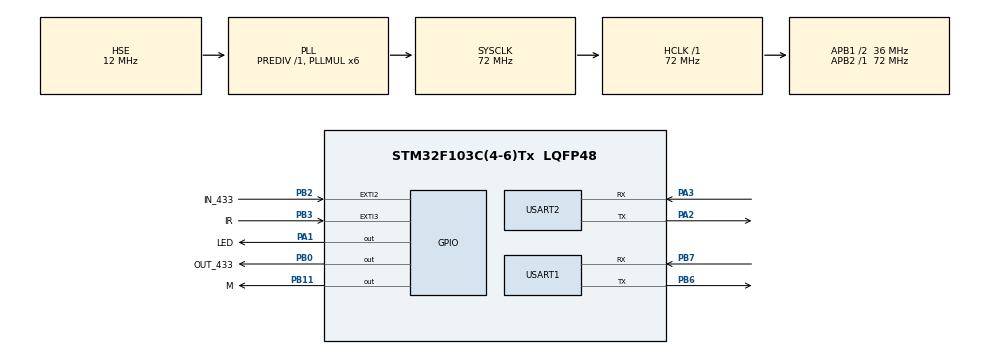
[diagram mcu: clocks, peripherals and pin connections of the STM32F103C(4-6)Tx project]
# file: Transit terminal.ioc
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IWDG.Prescaler=IWDG_PRESCALER_32
IWDG.Reload=4000
Mcu.Family=STM32F1
Mcu.Name=STM32F103C(4-6)Tx
Mcu.Package=LQFP48
NVIC.EXTI2_IRQn=true\:0\:0\:false\:false\:true\:true\:true\:true
NVIC.EXTI3_IRQn=true\:0\:0\:false\:false\:true\:true\:true\:true
NVIC.PriorityGroup=NVIC_PRIORITYGROUP_4
NVIC.TIM1_BRK_IRQn=true\:0\:0\:false\:false\:true\:true\:true\:true
NVIC.TIM2_IRQn=true\:0\:0\:false\:false\:true\:true\:true\:true
NVIC.TIM3_IRQn=true\:0\:0\:false\:false\:true\:true\:true\:true
NVIC.USART1_IRQn=true\:0\:0\:false\:false\:true\:true\:true\:true
PA1.GPIO_Label=LED
PA1.Signal=GPIO_Output
PA13.Mode=Serial_Wire
PA13.Signal=SYS_JTMS-SWDIO
PA14.Mode=Serial_Wire
PA14.Signal=SYS_JTCK-SWCLK
PA2.Mode=Asynchronous
PA2.Signal=USART2_TX
PA3.Mode=Asynchronous
PA3.Signal=USART2_RX
PB0.GPIO_Label=OUT_433
PB0.GPIO_ModeDefaultOutputPP=GPIO_MODE_OUTPUT_PP
PB0.Signal=GPIO_Output
PB11.GPIO_Label=M
PB11.GPIO_ModeDefaultOutputPP=GPIO_MODE_OUTPUT_OD
PB11.GPIO_PuPd=GPIO_NOPULL
PB11.GPIO_Speed=GPIO_SPEED_FREQ_HIGH
PB11.PinState=GPIO_PIN_SET
PB11.Signal=GPIO_Output
PB2.GPIO_Label=IN_433
PB2.GPIO_ModeDefaultEXTI=GPIO_MODE_IT_RISING_FALLING
PB2.GPIO_PuPd=GPIO_PULLUP
PB2.Signal=GPXTI2
PB3.GPIO_Label=IR
PB3.GPIO_ModeDefaultEXTI=GPIO_MODE_IT_FALLING
PB3.Signal=GPXTI3
PB6.Mode=Asynchronous
PB6.Signal=USART1_TX
PB7.Mode=Asynchronous
PB7.Signal=USART1_RX
PD0-OSC_IN.Mode=HSE-External-Oscillator
PD0-OSC_IN.Signal=RCC_OSC_IN
PD1-OSC_OUT.Mode=HSE-External-Oscillator
PD1-OSC_OUT.Signal=RCC_OSC_OUT
ProjectManager.HeapSize=0x200
ProjectManager.StackSize=0x400
ProjectManager.TargetToolchain=MDK-ARM V5.32
RCC.AHBFreq_Value=72000000
RCC.APB1CLKDivider=RCC_HCLK_DIV2
RCC.APB1Freq_Value=36000000
RCC.APB1TimFreq_Value=72000000
RCC.APB2Freq_Value=72000000
RCC.APB2TimFreq_Value=72000000
RCC.HCLKFreq_Value=72000000
RCC.HSE_VALUE=12000000
RCC.PLLMUL=RCC_PLL_MUL6
RCC.PLLSourceVirtual=RCC_PLLSOURCE_HSE
RCC.SYSCLKFreq_VALUE=72000000
RCC.SYSCLKSource=RCC_SYSCLKSOURCE_PLLCLK
RCC.USBFreq_Value=72000000
TIM1.Prescaler=72-1
TIM2.Period=20
TIM2.Prescaler=72-1
TIM3.Prescaler=72-1
USART1.VirtualMode=VM_ASYNC
USART2.VirtualMode=VM_ASYNC
VP_IWDG_VS_IWDG.Mode=IWDG_Activate
VP_TIM1_VS_ClockSourceINT.Mode=Internal
VP_TIM2_VS_ClockSourceINT.Mode=Internal
VP_TIM3_VS_ClockSourceINT.Mode=Internal
board=custom

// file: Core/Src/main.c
/* USER CODE BEGIN Header */
/**
 ******************************************************************************
 * @file           : main.c
 * @brief          : Main program body
 ******************************************************************************
 * @attention
 *
 * Copyright (c) 2023 STMicroelectronics.
 * All rights reserved.
 *
 * This software is licensed under terms that can be found in the LICENSE file
 * in the root directory of this software component.
 * If no LICENSE file comes with this software, it is provided AS-IS.
 *
 ******************************************************************************
 */
/* USER CODE END Header */
#include "main.h"
#include "iwdg.h"
#include "tim.h"
#include "usart.h"
#include "gpio.h"

/* USER CODE BEGIN Includes */
#include "Delay.h"
#include "IR_NEC.h"
#include "RF.h"
#include "Steering_Engine.h"
#include "Print.h"
/* USER CODE END Includes */

void SystemClock_Config(void);
/* USER CODE BEGIN PFP */
uint8_t Input_EN = 1;
uint8_t M_EN = 0;
uint8_t Uart1_Buf[20] = {0};
uint8_t Uart1_OK = 0;
/* USER CODE END PFP */

/* USER CODE BEGIN 0 */
void OPEN()
{
  M_EN = 1;
  HAL_IWDG_Refresh(&hiwdg);
  Steering_Engine_360(0, 30);

  HAL_Delay(500);
  HAL_IWDG_Refresh(&hiwdg);
  Steering_Engine_360(1, 40);
  HAL_Delay(80);
  HAL_IWDG_Refresh(&hiwdg);
  Steering_Engine_Stop();
  M_EN = 0;
}
void CLOSE()
{
  M_EN = 1;
  HAL_IWDG_Refresh(&hiwdg);
  Steering_Engine_360(1, 30);
  HAL_Delay(500);
  HAL_IWDG_Refresh(&hiwdg);
  Steering_Engine_360(0, 30);
  HAL_Delay(80);
  HAL_IWDG_Refresh(&hiwdg);
  Steering_Engine_Stop();
  M_EN = 0;
}
void HAL_TIM_PeriodElapsedCallback(TIM_HandleTypeDef *htim)
{
  if (htim == &htim1)
  {
  }
  else if (htim == &htim2)
  {
    if (M_EN == 1)
      Steering_Engine_Action();
    else
      HAL_GPIO_WritePin(Steering_Engine_GPIOx, Steering_Engine_GPIO_Pin, GPIO_PIN_SET);
  }
  else if (htim == &htim3)
  {
  }
}
void HAL_GPIO_EXTI_Callback(uint16_t GPIO_Pin)
{
  if (GPIO_Pin == GPIO_PIN_2) // 433
  {
    if (Input_EN == 1)
      if (IR_NEC_Read_ins == 0)
        if (RF_READ_OK == 0)
          RF_Read_Decode();
  }
  else if (GPIO_Pin == GPIO_PIN_3) // IR
  {
    if (Input_EN == 1)
      if (IR_NEC_Read_OK == 0)
        IR_NEC_Read_Decode(air);
  }
}
void HAL_UARTEx_RxEventCallback(UART_HandleTypeDef *huart, uint16_t Size)
{
  if (huart == &huart1)
  {
    Uart1_OK = 1;
    HAL_UART_Transmit(&huart2, Uart1_Buf, Size, 0xfff);
  }
}
/* USER CODE END 0 */

int main(void)
{
  /* USER CODE BEGIN 1 */
  // uint8_t Data_home_Close[3] = {0xac, 0x00, 0xFF};
  // uint8_t Data_home_Open[3] = {0xac, 0x00, 0x00};

  uint8_t Data_N_Close[3] = {0xac, 0x11, 0xFF};
  uint8_t Data_N_Open[3] = {0xac, 0x11, 0x00};

  uint8_t Data_S_Close[3] = {0xac, 0x22, 0xFF};
  uint8_t Data_S_Open[3] = {0xac, 0x22, 0x00};
  uint8_t RF433_Buf[3] = {0};
  /* USER CODE END 1 */

  /* MCU Configuration--------------------------------------------------------*/

  /* Reset of all peripherals, Initializes the Flash interface and the Systick. */
  HAL_Init();

  /* Configure the system clock */
  SystemClock_Config();

  /* Initialize all configured peripherals */
	MX_IWDG_Init();
  MX_GPIO_Init();
  MX_TIM1_Init();
  MX_TIM2_Init();
  MX_TIM3_Init();
  MX_USART1_UART_Init();
  MX_USART2_UART_Init();
  /* USER CODE BEGIN 2 */
  HAL_Delay(50);
  printf("1\r\n");
  HAL_GPIO_WritePin(GPIOA, GPIO_PIN_1, GPIO_PIN_RESET);
  HAL_UARTEx_ReceiveToIdle_IT(&huart1, Uart1_Buf, 20);
  /* USER CODE END 2 */

  /* Infinite loop */
  while (1)
  {

    /* USER CODE BEGIN 3 */

    if (RF_READ_OK == 1)
    {
      HAL_GPIO_WritePin(GPIOA, GPIO_PIN_1, GPIO_PIN_SET);
      Input_EN = 0;
      if (RF_READ_data[0] == 0xac && RF_READ_data[1] == 0x01 && RF_READ_data[2] == 0x00)
        OPEN();
      else if (RF_READ_data[0] == 0xac && RF_READ_data[1] == 0x01 && RF_READ_data[2] == 0xff)
        CLOSE();
      HAL_IWDG_Refresh(&hiwdg);
      RF_READ_data[0] = 0;
      RF_READ_data[1] = 0;
      RF_READ_data[2] = 0;
      RF_READ_OK = 0;
      Input_EN = 1;
      HAL_GPIO_WritePin(GPIOA, GPIO_PIN_1, GPIO_PIN_RESET);
    }
    if (IR_NEC_Read_OK == 1)
    {
      HAL_GPIO_WritePin(GPIOA, GPIO_PIN_1, GPIO_PIN_SET);
      Input_EN = 0;
      //  printf("%02X%02X%02X\r\n", RF_READ_data[0], RF_READ_data[1], RF_READ_data[2]);

      if (IR_NEC_Read_Dat[0] == 0x4D && IR_NEC_Read_Dat[1] == 0xb2 && IR_NEC_Read_Dat[2] == 0xa3 && IR_NEC_Read_Dat[3] == 0x5C)
        OPEN();
      else if (IR_NEC_Read_Dat[0] == 0x4D && IR_NEC_Read_Dat[1] == 0xb2 && IR_NEC_Read_Dat[2] == 0x59 && IR_NEC_Read_Dat[3] == 0xa6)
        CLOSE();

      if (IR_NEC_Read_Dat[0] == 0x84 && IR_NEC_Read_Dat[1] == 0xff && IR_NEC_Read_Dat[2] == 0x81 && IR_NEC_Read_Dat[3] == 0x7e)
        OPEN();
      else if (IR_NEC_Read_Dat[0] == 0x84 && IR_NEC_Read_Dat[1] == 0xff && IR_NEC_Read_Dat[2] == 0x01 && IR_NEC_Read_Dat[3] == 0xfe)
        CLOSE();

      HAL_IWDG_Refresh(&hiwdg);
      IR_NEC_Read_Dat[0] = 0;
      IR_NEC_Read_Dat[1] = 0;
      IR_NEC_Read_Dat[2] = 0;
      IR_NEC_Read_Dat[3] = 0;
      IR_NEC_Read_OK = 0;
      Input_EN = 1;
      HAL_GPIO_WritePin(GPIOA, GPIO_PIN_1, GPIO_PIN_RESET);
    }
    if (Uart1_OK == 1)
    {
      Input_EN = 0;
      HAL_IWDG_Refresh(&hiwdg);
      HAL_GPIO_WritePin(GPIOA, GPIO_PIN_1, GPIO_PIN_SET);
      if (Uart1_Buf[0] == 0xac && Uart1_Buf[1] != 0x00 && Uart1_Buf[1] != 0xFF)
      {
        for (int i = 0; i < 3; i++)
          RF433_Buf[i] = Uart1_Buf[i];
        RF_Write_Send(RF433_Buf);
      }
      else if (Uart1_Buf[0] == 0xac && Uart1_Buf[1] == 0x00)
      {
        if (Uart1_Buf[2] == 0x00)
          OPEN();
        else if (Uart1_Buf[2] == 0xff)
          CLOSE();
      }
      if (Uart1_Buf[0] == 0xac && Uart1_Buf[1] == 0xff)
      {
        // HAL_GPIO_WritePin(GPIOA, GPIO_PIN_1, GPIO_PIN_SET);
        if (Uart1_Buf[2] == 0x00)
        {
          RF_Write_Send(Data_N_Open);
          HAL_IWDG_Refresh(&hiwdg);
          HAL_Delay(300);
          HAL_IWDG_Refresh(&hiwdg);
          RF_Write_Send(Data_S_Open);
          OPEN();
        }
        else if (Uart1_Buf[2] == 0xff)
        {
          RF_Write_Send(Data_N_Close);
          HAL_IWDG_Refresh(&hiwdg);
          HAL_Delay(300);
          HAL_IWDG_Refresh(&hiwdg);
          RF_Write_Send(Data_S_Close);
          HAL_IWDG_Refresh(&hiwdg);
          CLOSE();
        }
      }
      HAL_GPIO_WritePin(GPIOA, GPIO_PIN_1, GPIO_PIN_RESET);
      Input_EN = 1;
      Uart1_OK = 0;
      HAL_UARTEx_ReceiveToIdle_IT(&huart1, Uart1_Buf, 20);
    }
  }
  /* USER CODE END 3 */
}

void SystemClock_Config(void)
{
  RCC_OscInitTypeDef RCC_OscInitStruct = {0};
  RCC_ClkInitTypeDef RCC_ClkInitStruct = {0};

  /** Initializes the RCC Oscillators according to the specified parameters
  * in the RCC_OscInitTypeDef structure.
  */
  RCC_OscInitStruct.OscillatorType = RCC_OSCILLATORTYPE_LSI|RCC_OSCILLATORTYPE_HSE;
  RCC_OscInitStruct.HSEState = RCC_HSE_ON;
  RCC_OscInitStruct.HSEPredivValue = RCC_HSE_PREDIV_DIV1;
  RCC_OscInitStruct.HSIState = RCC_HSI_ON;
  RCC_OscInitStruct.LSIState = RCC_LSI_ON;
  RCC_OscInitStruct.PLL.PLLState = RCC_PLL_ON;
  RCC_OscInitStruct.PLL.PLLSource = RCC_PLLSOURCE_HSE;
  RCC_OscInitStruct.PLL.PLLMUL = RCC_PLL_MUL6;
  if (HAL_RCC_OscConfig(&RCC_OscInitStruct) != HAL_OK)
  {
    Error_Handler();
  }

  /** Initializes the CPU, AHB and APB buses clocks
  */
  RCC_ClkInitStruct.ClockType = RCC_CLOCKTYPE_HCLK|RCC_CLOCKTYPE_SYSCLK
                              |RCC_CLOCKTYPE_PCLK1|RCC_CLOCKTYPE_PCLK2;
  RCC_ClkInitStruct.SYSCLKSource = RCC_SYSCLKSOURCE_PLLCLK;
  RCC_ClkInitStruct.AHBCLKDivider = RCC_SYSCLK_DIV1;
  RCC_ClkInitStruct.APB1CLKDivider = RCC_HCLK_DIV2;
  RCC_ClkInitStruct.APB2CLKDivider = RCC_HCLK_DIV1;

  if (HAL_RCC_ClockConfig(&RCC_ClkInitStruct, FLASH_LATENCY_2) != HAL_OK)
  {
    Error_Handler();
  }
}

void Error_Handler(void)
{
  __disable_irq();
  while (1)
  {
  }
}
